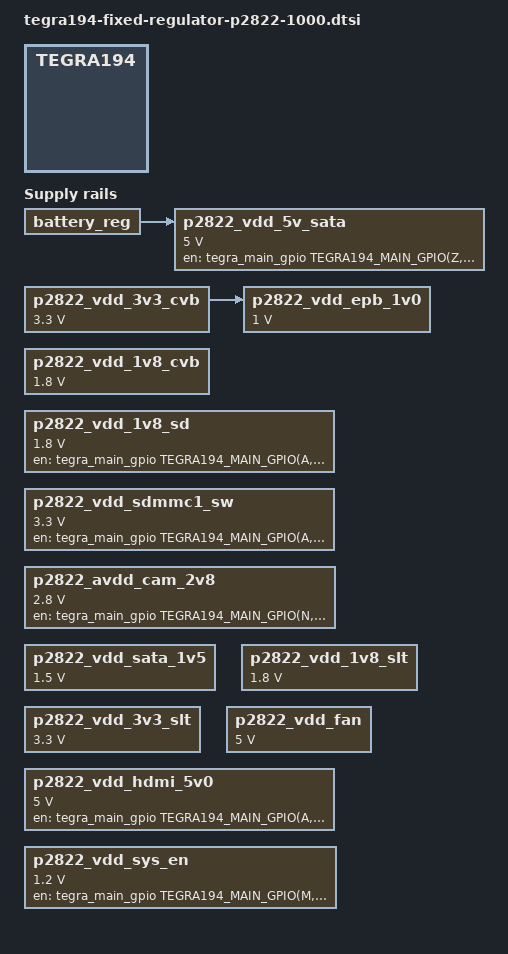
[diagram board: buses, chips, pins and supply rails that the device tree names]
/*
 * Copyright (c) 2017-2018, NVIDIA CORPORATION.  All rights reserved.
 *
 * This program is free software; you can redistribute it and/or modify
 * it under the terms of the GNU General Public License as published by
 * the Free Software Foundation; either version 2 of the License, or
 * (at your option) any later version.
 *
 * This program is distributed in the hope that it will be useful, but WITHOUT
 * ANY WARRANTY; without even the implied warranty of MERCHANTABILITY or
 * FITNESS FOR A PARTICULAR PURPOSE.  See the GNU General Public License for
 * more details.
 */

#include <dt-bindings/gpio/tegra194-gpio.h>

/ {
	fixed-regulators {
		p2822_vdd_3v3_cvb: regulator@101 {
			compatible = "regulator-fixed";
			reg = <101>;
			regulator-name = "vdd-3v3-cvb";
			regulator-min-microvolt = <3300000>;
			regulator-max-microvolt = <3300000>;
		};

		p2822_vdd_1v8_cvb: regulator@102 {
			compatible = "regulator-fixed";
			reg = <102>;
			regulator-name = "vdd-1v8-cvb";
			regulator-min-microvolt = <1800000>;
			regulator-max-microvolt = <1800000>;
		};

		p2822_vdd_1v8_sd: regulator@104 {
			compatible = "regulator-fixed";
			reg = <104>;
			regulator-name = "vdd-1v8-sd";
			regulator-min-microvolt = <1800000>;
			regulator-max-microvolt = <1800000>;
			gpio = <&tegra_main_gpio TEGRA194_MAIN_GPIO(A, 0) 0>;
			enable-active-high;
		};

		p2822_vdd_epb_1v0: regulator@105 {
			compatible = "regulator-fixed";
			reg = <105>;
			regulator-name = "vdd-epb-1v0";
			regulator-min-microvolt = <1000000>;
			regulator-max-microvolt = <1000000>;
			vin-supply = <&p2822_vdd_3v3_cvb>;
		};

		p2822_vdd_sdmmc1_sw: regulator@106 {
			compatible = "regulator-fixed";
			reg = <106>;
			regulator-name = "vdd-sdmmc1-sw";
			regulator-min-microvolt = <3300000>;
			regulator-max-microvolt = <3300000>;
			gpio = <&tegra_main_gpio TEGRA194_MAIN_GPIO(A, 0) 0>;
			enable-active-high;
		};

		p2822_avdd_cam_2v8: regulator@107 {
			compatible = "regulator-fixed";
			reg = <107>;
			regulator-name = "avdd-cam-2v8";
			regulator-min-microvolt = <2800000>;
			regulator-max-microvolt = <2800000>;
			gpio = <&tegra_main_gpio TEGRA194_MAIN_GPIO(N, 0) 0>;
			enable-active-high;
		};

		p2822_vdd_sata_1v5: regulator@108 {
			compatible = "regulator-fixed";
			reg = <108>;
			regulator-name = "vdd-sata-1v5";
			regulator-min-microvolt = <1500000>;
			regulator-max-microvolt = <1500000>;
		};

		p2822_vdd_1v8_slt: regulator@109 {
			compatible = "regulator-fixed";
			reg = <109>;
			regulator-name = "vdd-1v8-slt";
			regulator-min-microvolt = <1800000>;
			regulator-max-microvolt = <1800000>;
		};

		p2822_vdd_3v3_slt: regulator@110 {
			compatible = "regulator-fixed";
			reg = <110>;
			regulator-name = "vdd-3v3-slt";
			regulator-min-microvolt = <3300000>;
			regulator-max-microvolt = <3300000>;
		};

		p2822_vdd_fan: regulator@111 {
			compatible = "regulator-fixed";
			reg = <111>;
			regulator-name = "vdd-fan";
			regulator-min-microvolt = <5000000>;
			regulator-max-microvolt = <5000000>;
		};

		p2822_vdd_hdmi_5v0: regulator@112 {
			compatible = "regulator-fixed";
			reg = <112>;
			regulator-name = "vdd-hdmi-5v0";
			regulator-min-microvolt = <5000000>;
			regulator-max-microvolt = <5000000>;
			gpio = <&tegra_main_gpio TEGRA194_MAIN_GPIO(A, 3) 0>;
			enable-active-high;
		};

		p2822_vdd_sys_en: regulator@113 {
			compatible = "regulator-fixed";
			reg = <113>;
			regulator-name = "vdd_sys_en";
			regulator-min-microvolt = <1200000>;
			regulator-max-microvolt = <1200000>;
			gpio = <&tegra_main_gpio TEGRA194_MAIN_GPIO(M, 5) 0>;
			enable-active-high;
		};

		p2822_vdd_5v_sata: regulator@114 {
			compatible = "regulator-fixed";
			reg = <114>;
			regulator-name = "vdd-5v-sata";
			regulator-min-microvolt = <5000000>;
			regulator-max-microvolt = <5000000>;
			gpio = <&tegra_main_gpio TEGRA194_MAIN_GPIO(Z, 1) 0>;
			enable-active-high;
			vin-supply = <&battery_reg>;
		};
	};
};
